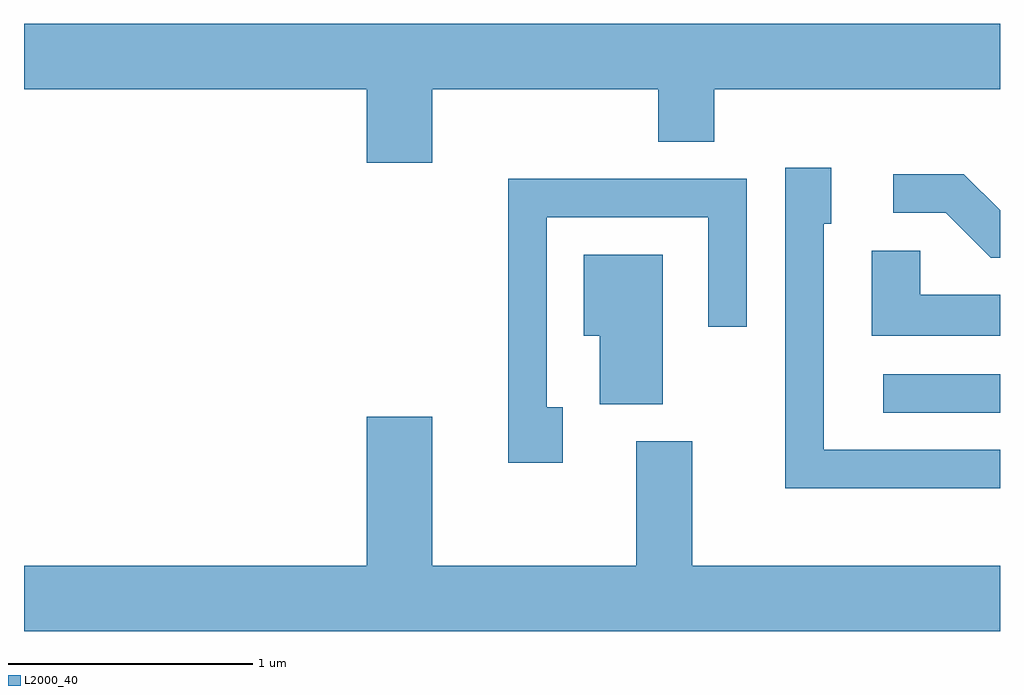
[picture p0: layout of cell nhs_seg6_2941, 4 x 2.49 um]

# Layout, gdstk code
import gdstk
lib = gdstk.Library(unit=1e-6, precision=1e-09)
def R(c, l, rs):  # rectangles x0, y0, x1, y1
    for r in rs: c.add(gdstk.rectangle(r[:2], r[2:], *l))
def P(c, l, *ps):  # polygons
    for p in ps: c.add(gdstk.Polygon(p, *l))
L2000_40 = (2000, 40)

nhs_seg6_2941 = lib.new_cell('nhs_seg6_2941')
R(nhs_seg6_2941, L2000_40, [(277.133,1621.971,277.611,1622.129)])
P(nhs_seg6_2941, L2000_40, [(275.284,1623.296),(276.211,1623.296),(276.211,1623.081),(276.439,1623.081),(276.439,1623.296),(277.611,1623.296),(277.611,1623.564),(273.611,1623.564),(273.611,1623.296),(275.016,1623.296),(275.016,1622.996),(275.284,1622.996)],
  [(277.611,1621.819),(276.889,1621.819),(276.889,1622.746),(276.919,1622.746),(276.919,1622.974),(276.731,1622.974),(276.731,1621.661),(277.611,1621.661)],
  [(277.611,1622.8),(277.462,1622.949),(277.173,1622.949),(277.173,1622.791),(277.389,1622.791),(277.574,1622.606),(277.611,1622.606)],
  [(275.819,1621.994),(275.754,1621.994),(275.754,1622.771),(276.416,1622.771),(276.416,1622.323),(276.574,1622.323),(276.574,1622.929),(275.596,1622.929),(275.596,1621.766),(275.819,1621.766)],
  [(277.611,1622.454),(277.284,1622.454),(277.284,1622.634),(277.086,1622.634),(277.086,1622.286),(277.611,1622.286)],
  [(276.229,1622.619),(275.906,1622.619),(275.906,1622.286),(275.971,1622.286),(275.971,1622.006),(276.229,1622.006)],
  [(277.611,1621.344),(276.349,1621.344),(276.349,1621.854),(276.121,1621.854),(276.121,1621.344),(275.284,1621.344),(275.284,1621.954),(275.016,1621.954),(275.016,1621.344),(273.611,1621.344),(273.611,1621.076),(277.611,1621.076)])

lib.write_gds('nhs_seg6_2941.gds')
